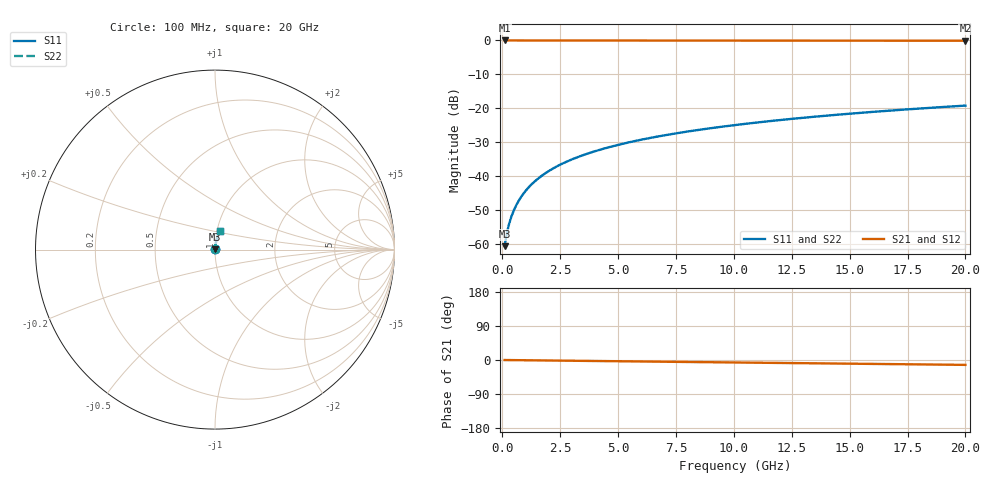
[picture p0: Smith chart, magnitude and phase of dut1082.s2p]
! Touchstone file exported from HFSS 2026.1.0
!  File:  C:/ffzhzh/LocalFiles/Ansys_Project_Files/temp_train_TMRDL_1082_1783160934_51560.aedt
!  Generated:  06:30:07 PM Jul  4, 2026
!  Design:  TMRDL
!  Project:  temp_train_TMRDL_1082_1783160934_51560
! Variables:
!  h_bsmrdl = 2um
!  h_ox = 20um
!  h_rdl = 5um
!  h_sub = 80um
!  h_tmrdl = 4.81um
!  h_tsv = 80um
!  h_via = 3um
!  l_bsmrdl = 300um
!  l_sub = 566.61um
!  l_tmrdl = 166.61um
!  m_sub = 200um
!  pitch = 48.42um
!  r_tsv = 6um
!  s_tmrdl = 10um
!  w_bsmrdl = 18um
!  w_sub = 500um
!  w_tmrdl = 27.09um
!  x_tsv_center1 = 180.155um
!  x_tsv_center2 = 498.155um
!  x_tsv_center3 = 691.855um
!  x_tsv_center4 = 1009.855um
!  x_tsv_center5 = 1203.555um
!  x_tsv_center6 = 1521.555um
# GHz S MA R 50.000000
! Terminal data exported
! Port[1] = TM_RDL1_1_T1
! Port[2] = TM_RDL1_1_T2
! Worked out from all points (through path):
!   200 points, 100 MHz to 20 GHz, reference 50 ohm
!   highest |S21| = -0.01 dB at 100 MHz (marker M1); lowest = -0.1 dB at 20 GHz (marker M2)
!   group delay of S21, straight-line fit = 1.78 ps
!   lowest |S11| = -60.8 dB at 100 MHz (marker M3), VSWR 1.00, Z = 50.1 + j0.0656 ohm
!   |S11| at or under -10 dB: start of sweep to end of sweep
!   |S22| runs from -60.8 to -19.2 dB; largest |S21 - S12| = 7.2e-15
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0.1  0.0009148 45.7  0.9994 -0.1  0.9994 -0.1  0.0009148 45.7
! Gamma 0 0 0 0
! Port Impedance 50 0 50 0
0.2  0.001441 61.2  0.9993 -0.1  0.9993 -0.1  0.001441 61.2
0.3  0.001987 68.3  0.9993 -0.2  0.9993 -0.2  0.001987 68.3
0.4  0.00254 72.5  0.9992 -0.3  0.9992 -0.3  0.00254 72.5
0.5  0.0031 75.2  0.9992 -0.3  0.9992 -0.3  0.0031 75.2
0.6  0.003666 77.2  0.9992 -0.4  0.9992 -0.4  0.003666 77.2
0.8  0.00481 79.8  0.9992 -0.5  0.9992 -0.5  0.00481 79.8
1.1  0.00654 81.8  0.9991 -0.7  0.9991 -0.7  0.00654 81.8
1.5  0.008852 83.1  0.999 -1.0  0.999 -1.0  0.008852 83.1
1.8  0.01058 83.6  0.999 -1.2  0.999 -1.2  0.01058 83.6
2.1  0.01231 83.8  0.9989 -1.4  0.9989 -1.4  0.01231 83.8
2.7  0.01575 84.0  0.9987 -1.8  0.9987 -1.8  0.01575 84.0
3.5  0.02028 83.9  0.9985 -2.3  0.9985 -2.3  0.02028 83.9
4.2  0.02421 83.7  0.9982 -2.8  0.9982 -2.8  0.02421 83.7
5  0.02867 83.4  0.9979 -3.3  0.9979 -3.3  0.02867 83.4
5.9  0.03364 82.9  0.9976 -3.9  0.9976 -3.9  0.03364 82.9
6.8  0.03858 82.5  0.9972 -4.4  0.9972 -4.4  0.03858 82.5
8.3  0.04676 81.8  0.9966 -5.4  0.9966 -5.4  0.04676 81.8
10.1  0.05652 80.8  0.9958 -6.6  0.9958 -6.6  0.05652 80.8
13.4  0.07425 79.0  0.9943 -8.7  0.9943 -8.7  0.07425 79.0
16.7  0.09177 77.2  0.9925 -10.8  0.9925 -10.8  0.09177 77.1
20  0.109 75.2  0.9904 -12.9  0.9904 -12.9  0.109 75.2
